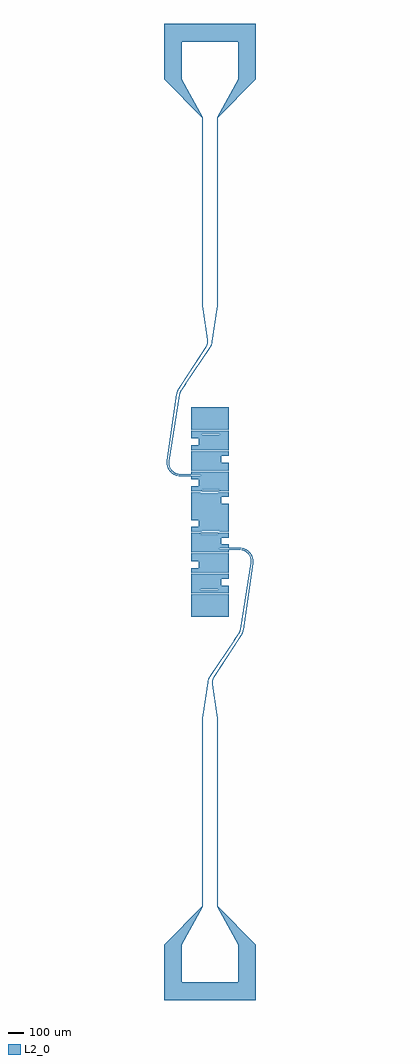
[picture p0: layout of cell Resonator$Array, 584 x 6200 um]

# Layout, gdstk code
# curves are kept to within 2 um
import gdstk
lib = gdstk.Library(unit=1e-6, precision=1e-09)
def R(c, l, rs):  # rectangles x0, y0, x1, y1
    for r in rs: c.add(gdstk.rectangle(r[:2], r[2:], *l))
def P(c, l, *ps):  # polygons
    for p in ps: c.add(gdstk.Polygon(p, *l))
L2_0 = (2, 0)

resonator_array = lib.new_cell('Resonator$Array')
R(resonator_array, L2_0, [(66.5,-725.5,305.5,-584.5), (66.5,461.5,305.5,602.5)])
P(resonator_array, L2_0, [(66.5,201.5),(66.5,325.5),(239.5,325.5),(239.5,226.5),(128.5,226.5),(128.5,318.5),(239.5,318.5),(239.5,322.5),(124.5,322.5),(124.5,222.5),(239.5,222.5),(239.5,325.5),(305.5,325.5),(305.5,295),(257.5,295),(257.5,250),(305.5,250),(305.5,201.5)],
  [(66.5,331.5),(66.5,362),(114.5,362),(114.5,407),(66.5,407),(66.5,455.5),(247.5,455.5),(247.5,434.5),(132.5,434.5),(132.5,430.5),(243.5,430.5),(243.5,338.5),(132.5,338.5),(132.5,334.5),(247.5,334.5),(247.5,455.5),(305.5,455.5),(305.5,331.5)],
  [(66.5,-448.5),(66.5,-418),(114.5,-418),(114.5,-373),(66.5,-373),(66.5,-345.5),(132.5,-345.5),(132.5,-349.5),(243.5,-349.5),(243.5,-441.5),(132.5,-441.5),(132.5,-445.5),(247.5,-445.5),(247.5,-345.5),(66.5,-345.5),(66.5,-324.5),(305.5,-324.5),(305.5,-448.5)],
  [(66.5,-578.5),(66.5,-457.5),(124.5,-457.5),(124.5,-557.5),(239.5,-557.5),(239.5,-553.5),(128.5,-553.5),(128.5,-461.5),(239.5,-461.5),(239.5,-457.5),(66.5,-457.5),(66.5,-454.5),(305.5,-454.5),(305.5,-485),(257.5,-485),(257.5,-530),(305.5,-530),(305.5,-578.5)],
  [(66.5,-58.5),(66.5,65.5),(305.5,65.5),(305.5,35),(257.5,35),(257.5,14),(239.5,14),(239.5,38.5),(226.5,38.5),(226.5,-10.5),(219.5,-10.5),(219.5,38.5),(206.5,38.5),(206.5,-10.5),(199.5,-10.5),(199.5,38.5),(186.5,38.5),(186.5,-10.5),(179.5,-10.5),(179.5,38.5),(166.5,38.5),(166.5,-10.5),(159.5,-10.5),(159.5,38.5),(146.5,38.5),(146.5,14),(128.5,14),(128.5,58.5),(239.5,58.5),(239.5,62.5),(124.5,62.5),(124.5,-37.5),(239.5,-37.5),(239.5,-33.5),(128.5,-33.5),(128.5,11),(149.5,11),(149.5,35.5),(156.5,35.5),(156.5,-13.5),(169.5,-13.5),(169.5,35.5),(176.5,35.5),(176.5,-13.5),(189.5,-13.5),(189.5,35.5),(196.5,35.5),(196.5,-13.5),(209.5,-13.5),(209.5,35.5),(216.5,35.5),(216.5,-13.5),(229.5,-13.5),(229.5,35.5),(236.5,35.5),(236.5,11),(257.5,11),(257.5,-10),(305.5,-10),(305.5,-58.5)],
  [(66.5,-188.5),(66.5,-155),(114.5,-155),(114.5,-137),(135.5,-137),(135.5,-112.5),(142.5,-112.5),(142.5,-161.5),(155.5,-161.5),(155.5,-112.5),(162.5,-112.5),(162.5,-161.5),(175.5,-161.5),(175.5,-112.5),(182.5,-112.5),(182.5,-161.5),(195.5,-161.5),(195.5,-112.5),(202.5,-112.5),(202.5,-161.5),(215.5,-161.5),(215.5,-112.5),(222.5,-112.5),(222.5,-137),(243.5,-137),(243.5,-181.5),(132.5,-181.5),(132.5,-185.5),(247.5,-185.5),(247.5,-85.5),(132.5,-85.5),(132.5,-89.5),(243.5,-89.5),(243.5,-134),(225.5,-134),(225.5,-109.5),(212.5,-109.5),(212.5,-158.5),(205.5,-158.5),(205.5,-109.5),(192.5,-109.5),(192.5,-158.5),(185.5,-158.5),(185.5,-109.5),(172.5,-109.5),(172.5,-158.5),(165.5,-158.5),(165.5,-109.5),(152.5,-109.5),(152.5,-158.5),(145.5,-158.5),(145.5,-109.5),(132.5,-109.5),(132.5,-134),(114.5,-134),(114.5,-113),(66.5,-113),(66.5,-64.5),(305.5,-64.5),(305.5,-188.5)],
  [(427.139,-325.346),(415.285,-314.771),(402.807,-307.715),(374.919,-301.734),(305.5,-301.08),(305.5,-318.5),(66.5,-318.5),(66.5,-194.5),(305.5,-194.5),(305.5,-225),(257.5,-225),(257.5,-246),(239.5,-246),(239.5,-221.5),(226.5,-221.5),(226.5,-270.5),(219.5,-270.5),(219.5,-221.5),(206.5,-221.5),(206.5,-270.5),(199.5,-270.5),(199.5,-221.5),(186.5,-221.5),(186.5,-270.5),(179.5,-270.5),(179.5,-221.5),(166.5,-221.5),(166.5,-270.5),(159.5,-270.5),(159.5,-221.5),(146.5,-221.5),(146.5,-246),(128.5,-246),(128.5,-201.5),(239.5,-201.5),(239.5,-197.5),(124.5,-197.5),(124.5,-297.5),(239.5,-297.5),(239.5,-293.5),(128.5,-293.5),(128.5,-249),(149.5,-249),(149.5,-224.5),(156.5,-224.5),(156.5,-273.5),(169.5,-273.5),(169.5,-224.5),(176.5,-224.5),(176.5,-273.5),(189.5,-273.5),(189.5,-224.5),(196.5,-224.5),(196.5,-273.5),(209.5,-273.5),(209.5,-224.5),(216.5,-224.5),(216.5,-273.5),(229.5,-273.5),(229.5,-224.5),(236.5,-224.5),(236.5,-249),(257.5,-249),(257.5,-267),(305.5,-267),(305.5,-289.969),(377.246,-289.388),(400.397,-293.127),(425.942,-306.027),(444.827,-325.346),(441.152,-325.346),(428.925,-312.222),(416.38,-303.319),(387.457,-293.237),(244,-293.5),(244,-297.5),(384.7,-299.446),(412.198,-309.161),(429.162,-323.069),(431.129,-325.346)],
  [(361.691,-876.5),(384.053,-842.195),(387.95,-835.11),(392.914,-822.59),(395.863,-809.449),(456.898,-383.433),(457.318,-370.615),(455.734,-357.888),(453.049,-347.982),(450.233,-340.815),(446.758,-333.943),(441.152,-325.346),(444.827,-325.346),(448.556,-331.089),(452.232,-338.013),(455.255,-345.246),(457.598,-352.727),(459.242,-360.392),(460.174,-368.175),(460.122,-381.233),(398.823,-809.888),(396.746,-820.091),(394.413,-827.545),(391.436,-834.766),(387.837,-841.698),(365.311,-876.5)],
  [(338.093,-876.5),(369.091,-829.912),(372.168,-823.932),(374.63,-817.674),(377.302,-806.798),(444.736,-381.482),(445.206,-369.54),(444.522,-362.396),(443.119,-355.358),(441.014,-348.497),(437.151,-339.747),(432.146,-331.595),(427.139,-325.346),(431.129,-325.346),(435.227,-330.738),(439.084,-336.979),(442.303,-343.571),(444.854,-350.449),(446.711,-357.546),(447.856,-364.792),(448.279,-372.116),(447.974,-379.445),(380.275,-807.254),(378.827,-814.129),(376.698,-820.825),(373.908,-827.273),(370.486,-833.409),(341.663,-876.5)],
  [(-57.374,200.312),(-63.227,207.738),(-67.084,213.979),(-70.303,220.571),(-72.854,227.449),(-74.711,234.546),(-75.856,241.792),(-76.279,249.116),(-75.974,256.445),(-8.275,684.254),(-6.827,691.129),(-4.698,697.825),(-1.908,704.273),(1.514,710.409),(30.337,753.5),(33.907,753.5),(2.909,706.912),(-0.168,700.932),(-2.63,694.674),(-5.302,683.798),(-72.736,258.482),(-73.206,246.54),(-72.522,239.396),(-71.119,232.358),(-68.159,223.262),(-64.003,214.646),(-58.727,206.668),(-53.242,200.312)],
  [(-71.345,200.312),(-75.191,205.86),(-79.078,212.668),(-82.322,219.804),(-84.894,227.21),(-86.773,234.82),(-87.943,242.572),(-88.394,250.398),(-88.122,258.233),(-26.823,686.888),(-24.746,697.091),(-22.413,704.545),(-19.436,711.766),(-15.837,718.698),(6.689,753.5),(10.309,753.5),(-12.053,719.195),(-15.95,712.11),(-20.914,699.59),(-23.863,686.449),(-84.898,260.433),(-85.391,252.748),(-85.161,245.052),(-83.179,232.381),(-81.049,224.982),(-77.147,215.488),(-72.09,206.557),(-67.586,200.312)],
  [(66.5,71.5),(66.5,102),(114.5,102),(114.5,123),(135.5,123),(135.5,147.5),(142.5,147.5),(142.5,98.5),(155.5,98.5),(155.5,147.5),(162.5,147.5),(162.5,98.5),(175.5,98.5),(175.5,147.5),(182.5,147.5),(182.5,98.5),(195.5,98.5),(195.5,147.5),(202.5,147.5),(202.5,98.5),(215.5,98.5),(215.5,147.5),(222.5,147.5),(222.5,123),(243.5,123),(243.5,78.5),(132.5,78.5),(132.5,74.5),(247.5,74.5),(247.5,174.5),(132.5,174.5),(132.5,170.5),(243.5,170.5),(243.5,126),(225.5,126),(225.5,150.5),(212.5,150.5),(212.5,101.5),(205.5,101.5),(205.5,150.5),(192.5,150.5),(192.5,101.5),(185.5,101.5),(185.5,150.5),(172.5,150.5),(172.5,101.5),(165.5,101.5),(165.5,150.5),(152.5,150.5),(152.5,101.5),(145.5,101.5),(145.5,150.5),(132.5,150.5),(132.5,126),(114.5,126),(114.5,147),(66.5,147),(66.5,166.969),(-5.246,166.388),(-23.356,168.744),(-49.645,180.05),(-71.345,200.312),(-67.586,200.312),(-52.932,185.994),(-37.537,176.789),(-20.509,171.15),(-5.23,169.367),(128,170.5),(128,174.5),(-12.7,176.446),(-38.077,184.943),(-57.374,200.312),(-53.242,200.312),(-41.309,190.422),(-28.6,183.791),(-2.919,178.734),(66.5,178.08),(66.5,195.5),(305.5,195.5),(305.5,71.5)],
  [(6.037,752.5),(159.937,988.655),(169.284,1018.366),(138.037,1245.611),(138,2444.5),(-106,2686),(-106,3038.5),(478,3038.5),(478,2686),(234,2444.5),(233.087,1233.508),(201.558,1020.08),(195.901,999.146),(33.238,752.5),(29.667,752.5),(185.915,985.82),(198.558,1020.08),(230.964,1245.684),(231,2445.5),(366,2686),(366,2926.5),(6,2926.5),(6,2686),(141,2445.5),(141.036,1245.684),(172.442,1022.443),(169.976,1003.864),(162.531,986.664),(9.656,752.5)],
  [(-106,-3161.5),(-106,-2809),(138,-2567.5),(138.913,-1356.508),(170.442,-1143.08),(176.099,-1122.146),(338.762,-875.5),(342.333,-875.5),(186.085,-1108.82),(173.442,-1143.08),(141.036,-1368.684),(141,-2568.5),(6,-2809),(6,-3049.5),(366,-3049.5),(366,-2809),(231,-2568.5),(230.964,-1368.684),(199.558,-1145.443),(202.024,-1126.864),(209.469,-1109.664),(362.344,-875.5),(365.963,-875.5),(212.063,-1111.655),(202.716,-1141.366),(233.963,-1368.611),(234,-2567.5),(478,-2809),(478,-3161.5)])

lib.write_gds('Resonator_Array.gds')
